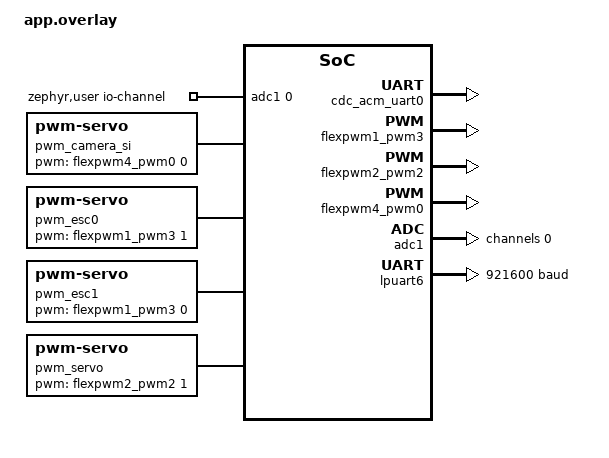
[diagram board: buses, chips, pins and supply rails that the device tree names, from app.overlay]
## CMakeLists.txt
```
cmake_minimum_required(VERSION 3.22)
set(BOARD teensy41)

find_package(Zephyr REQUIRED HINTS $ENV{ZEPHYR_BASE})
project(nxpcup)

set(CMAKE_CXX_STANDARD 11)
set(CMAKE_CXX_EXTENSIONS OFF)
set(CMAKE_CXX_STANDARD_REQUIRED ON)

set(ENV{ZEPHYR_BASE} ${ZEPHYR_BASE})

set(CMAKE_GENERATOR "Ninja")

include_directories(NXP_hal)

target_sources(app PRIVATE 
                NXP_hal/NXP_GPIO.cpp
                NXP_hal/NXP_Blinky.cpp
                NXP_hal/NXP_USB.cpp
                NXP_hal/NXP_ADC.cpp
                NXP_hal/NXP_Camera.cpp
                NXP_hal/NXP_PWM.cpp
                NXP_hal/NXP_Servo.cpp
                NXP_hal/NXP_Algorithm.cpp
                NXP_hal/NXP_UART.cpp
                NXP_hal/NXP_Encoder.cpp

                src/main.cpp
            )
```

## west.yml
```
# Copyright (c) 2021 Nordic Semiconductor ASA
# SPDX-License-Identifier: Apache-2.0

manifest:
  self:
    west-commands: scripts/west-commands.yml

  remotes:
    - name: zephyrproject-rtos
      url-base: https://github.com/zephyrproject-rtos

  projects:
    - name: zephyr
      remote: zephyrproject-rtos
      revision: v4.1.0-rc3
      import:
        # By using name-allowlist we can clone only the modules that are
        # strictly needed by the application.
        name-allowlist:
          - cmsis      # required by the ARM port
          - hal_nxp    # required by this port
```

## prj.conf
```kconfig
CONFIG_PWM=y

CONFIG_GPIO=y

CONFIG_USB_DEVICE_STACK=y
CONFIG_USB_DEVICE_PRODUCT="Zephyr USB console sample"
CONFIG_USB_DEVICE_PID=0x0004
CONFIG_USB_DEVICE_INITIALIZE_AT_BOOT=n

CONFIG_SERIAL=y
CONFIG_CONSOLE=y
CONFIG_UART_CONSOLE=y
CONFIG_UART_LINE_CTRL=y
CONFIG_UART_INTERRUPT_DRIVEN=y

CONFIG_STDOUT_CONSOLE=y
CONFIG_PRINTK=y
CONFIG_LOG=y
CONFIG_LOG_PRINTK=y
CONFIG_LOG_MODE_IMMEDIATE=y
# CONFIG_LOG_MODE_DEFERRED=y
CONFIG_PWM_LOG_LEVEL_DBG=y

CONFIG_PINCTRL=y

CONFIG_PRINTK=y

CONFIG_HEAP_MEM_POOL_SIZE=256

CONFIG_ADC=y
# CONFIG_ADC_LOG_LEVEL_DBG=y

CONFIG_GPIO_LOG_LEVEL_DBG=y

CONFIG_KERNEL_LOG_LEVEL_INF=y

CONFIG_ZERO_LATENCY_IRQS=y

# CONFIG_SYS_CLOCK_TICKS_PER_SEC=33554432
# CONFIG_TICKLESS_KERNEL=n
CONFIG_USB_CDC_ACM_LOG_LEVEL_OFF=y
CONFIG_CPP=y

# We don't need these for this project
CONFIG_SPI=n
CONFIG_I2C=n
```

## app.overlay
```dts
/ {
	chosen {
		zephyr,console = &cdc_acm_uart0;
		zephyr,bt-uart = &lpuart6;
	};
	
	zephyr,user {
		io-channels = <&adc1 0>;
	};

	pwm_camera_si: pwm_camera_si {
		compatible = "pwm-servo";
		pwms = <&flexpwm4_pwm0 0 PWM_MSEC(20) PWM_POLARITY_NORMAL>;
		min-pulse = <PWM_USEC(700)>;
		max-pulse = <PWM_USEC(2300)>;
	};

	pwm_esc0: pwm_esc0 {
		compatible = "pwm-servo";
		pwms = <&flexpwm1_pwm3 1 PWM_MSEC(20) PWM_POLARITY_NORMAL>;
		min-pulse = <PWM_MSEC(0)>;
		max-pulse = <PWM_MSEC(20)>;
	};

	pwm_esc1: pwm_esc1 {
		compatible = "pwm-servo";
		pwms = <&flexpwm1_pwm3 0 PWM_MSEC(20) PWM_POLARITY_NORMAL>;
		min-pulse = <PWM_MSEC(0)>;
		max-pulse = <PWM_MSEC(20)>;
	};

	pwm_servo: pwm_servo {
		compatible = "pwm-servo";
		pwms = <&flexpwm2_pwm2 1 PWM_MSEC(20) PWM_POLARITY_NORMAL>;
		min-pulse = <PWM_USEC(700)>;
		max-pulse = <PWM_USEC(2300)>;
	};
};

&zephyr_udc0 {
	cdc_acm_uart0: cdc_acm_uart0 {
		compatible = "zephyr,cdc-acm-uart";
	};
};

&pinctrl {
	pinmux_flexpwm_camera_si: pinmux_flexpwm_camera_si {
		group0 {
			pinmux = <&iomuxc_gpio_ad_b1_08_flexpwm4_pwma0>;
			drive-strength = "r0-7";
			slew-rate = "fast";
			nxp,speed = "50-mhz";
		};
	};

	pinmux_flexpwm_esc: pinmux_flexpwm_esc {
		group0 {
			pinmux = <&iomuxc_gpio_b1_01_flexpwm1_pwmb3>, <&iomuxc_gpio_b1_00_flexpwm1_pwma3>;
			drive-strength = "r0-7";
			slew-rate = "fast";
			nxp,speed = "50-mhz";
		};
	};

	pinmux_flexpwm_servo: pinmux_flexpwm_servo {
		group0 {
			pinmux = <&iomuxc_gpio_b0_11_flexpwm2_pwmb2>;
			drive-strength = "r0-7";
			slew-rate = "fast";
			nxp,speed = "50-mhz";
		};
	};

	pinmux_adc_ch1: pinmux_adc_ch1 {
		group0 {
			pinmux = <&iomuxc_gpio_ad_b1_11_adc1_in0>;
			drive-strength = "r0-7";
			slew-rate = "fast";
			nxp,speed = "50-mhz";
		};
	};

	pinmux_lpuart6: pinmux_lpuart6 {
		group0 {
			pinmux = <&iomuxc_gpio_ad_b0_03_lpuart6_rx>,
				<&iomuxc_gpio_ad_b0_02_lpuart6_tx>;
			drive-strength = "r0-6";
			slew-rate = "slow";
			nxp,speed = "100-mhz";
		};
	};
};

&flexpwm1_pwm3 {
	status = "okay";
	pinctrl-0 = <&pinmux_flexpwm_esc>;
	pinctrl-names = "default";
	nxp,prescaler = <64>;
};

&flexpwm2_pwm2 {
	status = "okay";
	pinctrl-0 = <&pinmux_flexpwm_servo>;
	pinctrl-names = "default";
	nxp,prescaler = <64>;
};

&flexpwm4_pwm0 {
	status = "okay";
	pinctrl-0 = <&pinmux_flexpwm_camera_si>;
	pinctrl-names = "default";
	nxp,prescaler = <64>;
};

&adc1 {
	#address-cells = <1>;
	#size-cells = <0>;
	status = "okay";

	pinctrl-0 = <&pinmux_adc_ch1>;
	pinctrl-names = "default";

	channel@0 {
		reg = <0>;
		zephyr,gain = "ADC_GAIN_1";
		zephyr,reference = "ADC_REF_INTERNAL"; // tego nie mozna zmienic
		zephyr,vref-mv = <3300>;
		zephyr,acquisition-time = <ADC_ACQ_TIME_DEFAULT>; // tego tez nie mozna zmienic
		zephyr,resolution = <10>;
		// zephyr,oversampling = <4>;
	};
};

&lpuart6 {
	status = "okay";
	compatible = "nxp,lpuart";
	current-speed = < 921600 >;
	pinctrl-0 = <&pinmux_lpuart6>;
};
```

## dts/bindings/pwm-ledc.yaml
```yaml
# Copyright (c) 2022 Nordic Semiconductor ASA
# SPDX-License-Identifier: Apache-2.0

description: PWM-driven led driver.

compatible: "pwm-ledc"

include: base.yaml

properties:
  pwms:
    required: true
    type: phandle-array
    description: PWM specifier driving the servo motor.

  min-pulse:
    required: true
    type: int
    description: Minimum pulse width (nanoseconds).

  max-pulse:
    required: true
    type: int
    description: Maximum pulse width (nanoseconds).
```

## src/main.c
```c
#include <zephyr/kernel.h>
#include <zephyr/sys/printk.h>

#include "adc.h"
#include "algorithm.h"
#include "blink.h"
#include "camera.h"
#include "gpio.h"
#include "led.h"
#include "servo.h"
#include "usb.h"

#define ALGORITHM_STACKSIZE 8192
#define CAMERA_STACKSIZE 8192
#define CAMERA_LOG_STACKSIZE 8192

#define BLINK_STACKSIZE 4096

#define CAMERA_PROC_PRIORITY 100
#define ALGORITHM_PRIORITY 7
#define CAMERA_LOG_PRIORITY 3
#define BLINK_AMBER_PRIORIY 1

int main() {
    setupGPIO();
    setupAmberLed();
    setupUSB();
    setupAdc();
    setupCamera();
    setupServo();

    printk("NXP says hello <3\n");
    uint32_t freq = CLOCK_GetCpuClkFreq();
    printk("CPU Freq: %d\n", freq);
}

K_THREAD_DEFINE(cameraProc_id, CAMERA_STACKSIZE, cameraProc, NULL, NULL,
                NULL, CAMERA_PROC_PRIORITY, 0, 0);

// K_THREAD_DEFINE(algorithmDemo_id, ALGORITHM_STACKSIZE, algorithmDemo, NULL,
// NULL,
//                 NULL, ALGORITHM_PRIORITY, 0, 0);

// K_THREAD_DEFINE(cameraDebugPrintkLoop_id, CAMERA_LOG_STACKSIZE,
// cameraDebugPrintkLoop, NULL, NULL,
//                 NULL, CAMERA_LOG_PRIORITY, 0, 0);

K_THREAD_DEFINE(blinkAmber_id, BLINK_STACKSIZE, blinkAmber, NULL, NULL, NULL,
                BLINK_AMBER_PRIORIY, 0, 0);

// K_THREAD_DEFINE(servoDemoProc_id, STACKSIZE, servoDemoProc, NULL, NULL, NULL,
//                 BLINK_AMBER_PRIORIY, 0, 0);
```

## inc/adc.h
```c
#ifndef __ADC_H
#define __ADC_H

#include <zephyr/device.h>
#include <zephyr/drivers/adc.h>

#if !DT_NODE_EXISTS(DT_PATH(zephyr_user)) || \
    !DT_NODE_HAS_PROP(DT_PATH(zephyr_user), io_channels)
#error "No suitable devicetree overlay specified"
#endif

#define DT_SPEC_AND_COMMA(node_id, prop, idx) \
    ADC_DT_SPEC_GET_BY_IDX(node_id, idx),

static const struct adc_dt_spec adc_channels[] = {
    DT_FOREACH_PROP_ELEM(DT_PATH(zephyr_user), io_channels, DT_SPEC_AND_COMMA)};

void setupAdc();

void adcInitSequence(uint32_t channel, struct adc_sequence *seq);

void adcRead(const struct device *dev, const struct adc_sequence *sequence);

#endif /* __ADC_H */
```

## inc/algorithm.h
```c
#ifndef __ALGORITHM_H
#define __ALGORITHM_H

#include <stdbool.h>
#include <stdint.h>

int32_t algorithmCalculatePosition(uint32_t* cameraBuffer);

#endif /* __ALGORITHM_H */
```

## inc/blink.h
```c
#ifndef __BLINK_H
#define __BLINK_H

void blinkAmber();

#endif /* __BLINK_H */
```

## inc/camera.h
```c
#ifndef __CAMERA_H
#define __CAMERA_H

#include <stdarg.h>
#include <stdint.h>
#include <zephyr/device.h>
#include <zephyr/drivers/gpio.h>
#include <zephyr/kernel.h>

#define CAMERA_CLK_GPIO_PORT GPIO_PORT_6
#define CAMERA_CLK_GPIO_PIN 3

#define DELAY_US 36
#define DELAY_US_HALF DELAY_US / 2

#define CAMERA_ADC_SAMPLES 128
#define CAMERA_ADC_CHANNEL 0
#define CAMERA_ADC_DEVICE adc_channels[CAMERA_ADC_CHANNEL].dev

#define CAMERA_MSG_LEN sizeof(cameraBufArr)
#define CAMERA_MSG_ARRAY_SIZE 4

#define GPIO_SI_INPUT_PIN 0

extern bool cameraInterruptState;

extern uint32_t cameraBufArr[CAMERA_ADC_SAMPLES];
extern struct k_msgq camera_dat_msgq;

void setupCamera();
void cameraSetCLKPin();
void cameraResetCLKPin();

void cameraProc();

void cameraDebugPrintk();
void cameraDebugPrintkLoop();

#endif /* __CAMERA_H */
```

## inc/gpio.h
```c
#ifndef __GPIO_H
#define __GPIO_H

#include <stdint.h>
#include <zephyr/device.h>
#include <zephyr/drivers/gpio.h>

#define GPIO_PORT_6 DEVICE_DT_GET(DT_NODELABEL(gpio6))
#define GPIO_PORT_2 DEVICE_DT_GET(DT_NODELABEL(gpio2))

void setupGPIO();

void gpioConfigurePin(const struct device *gpio_ct_dev, uint8_t pin,
                      unsigned int flag);
void gpioSetPin(const struct device *gpio_ct_dev, uint8_t pin);
void gpioResetPin(const struct device *gpio_ct_dev, uint8_t pin);
void gpioConfigureInterrupt(const struct device *port, uint32_t pin,
                            gpio_flags_t flags,
                            gpio_callback_handler_t isr_handler);

#endif /* __GPIO_H */
```

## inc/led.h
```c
#ifndef __LED_H
#define __LED_H

#include "gpio.h"

#define AMBER_LED_GPIO_PORT GPIO_PORT_2
#define AMBER_LED_GPIO_PIN 3

void setupAmberLed();

void ledAmberSet();
void ledAmberReset();

#endif /* __LED_H */
```

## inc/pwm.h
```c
#ifndef __PWM_H
#define __PWM_H

#include <stdint.h>
#include <zephyr/device.h>
#include <zephyr/drivers/gpio.h>
#include <zephyr/drivers/pwm.h>

#define PWM_SIPWM (&sipwm)  // Makro wskazujące na strukturę

static const struct pwm_dt_spec sipwm = PWM_DT_SPEC_GET(DT_NODELABEL(sipwm));

void pwmInit(const struct pwm_dt_spec *spec);

void pwmSetPulseNs(const struct pwm_dt_spec *spec, uint32_t pulseWidth);

const char * pwmGetDeviceName(const struct pwm_dt_spec *spec);

#endif /* __PWM_H */
```

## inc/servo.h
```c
#ifndef __SERVO_H
#define __SERVO_H

#include <stdint.h>

#define SERVO_PWM_MIN_NSEC 700000
#define SERVO_PWM_MAX_NSEC 2300000

#define SERVO_PWM_ZERO (SERVO_PWM_MAX_NSEC + SERVO_PWM_MIN_NSEC) / 2

#define SERVO_PWM_RANGE (SERVO_PWM_MAX_NSEC - SERVO_PWM_MIN_NSEC)

void setupServo();
void servoSetDegrees(float degrees);
void servoPulseSet(int32_t pulseWidth);

#endif /* __SERVO_H */
```

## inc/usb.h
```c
#ifndef __USB_H
#define __USB_H

void setupUSB();

#endif /* __USB_H */
```

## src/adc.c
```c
#include "adc.h"

#include <zephyr/device.h>
#include <zephyr/drivers/adc.h>

#include "led.h"

void setupAdc() {
    if (!adc_is_ready_dt(&adc_channels[0])) {
        printk("ADC controller device %s not ready\n",
               adc_channels[0].dev->name);
        return;
    }

    int err = adc_channel_setup_dt(&adc_channels[0]);
    if (err < 0) {
        printk("Could not setup channel #%d (%d)", 0, err);
        return;
    }
}

void adcInitSequence(uint32_t channel, struct adc_sequence *seq) {
    int err = adc_sequence_init_dt(&adc_channels[channel], seq);
    if (err < 0) {
        printk("Could not initalize sequnce");
        return;
    }
}

void adcRead(const struct device *dev, const struct adc_sequence *sequence) {
    int err = adc_read(dev, sequence);
    if (err < 0) {
        printk("Could not read (%d)\n", err);
        return;
    }
}
```

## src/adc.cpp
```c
#include "adc.h"

#include <zephyr/device.h>
#include <zephyr/drivers/adc.h>

void setupAdc() {
    if (!adc_is_ready_dt(&adc_channels[0])) {
        printk("ADC controller device %s not ready\n",
               adc_channels[0].dev->name);
        return;
    }

    int err = adc_channel_setup_dt(&adc_channels[0]);
    if (err < 0) {
        printk("Could not setup channel #%d (%d)", 0, err);
        return;
    }
}

void adcInitSequence(uint32_t channel, struct adc_sequence *seq) {
    int err = adc_sequence_init_dt(&adc_channels[channel], seq);
    if (err < 0) {
        printk("Could not initalize sequnce");
        return;
    }
}

void adcRead(const struct device *dev, const struct adc_sequence *sequence) {
    int err = adc_read(dev, sequence);
    if (err < 0) {
        printk("Could not read (%d)\n", err);
        return;
    }
}
```

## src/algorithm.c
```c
#include "algorithm.h"

#include <assert.h>
#include <stdint.h>
#include <zephyr/device.h>
#include <zephyr/drivers/gpio.h>
#include <zephyr/drivers/pwm.h>
#include <zephyr/kernel.h>

#include "adc.h"
#include "camera.h"
#include "servo.h"

int32_t algorithmCalculatePosition(uint32_t* cameraBuffer) {
    uint32_t smoothing[128];
    uint32_t sobel[128];
    uint32_t suppression[128];

    smoothing[0] = ((cameraBuffer[0] * 2) + cameraBuffer[1]) / 3;
    smoothing[127] = ((cameraBuffer[127] * 2) + cameraBuffer[126]) / 3;

    for (unsigned int i = 0; i < 128; i++) {
        sobel[i] = 0;
        suppression[i] = 0;
    }

    for (unsigned int i = 1; i < 127; i++)
        smoothing[i] =
            (cameraBuffer[i - 1] + cameraBuffer[i] + cameraBuffer[i + 1]) / 3;

    for (unsigned int i = 2; i < 126; i++)
        sobel[i] = abs(smoothing[i - 2] - smoothing[i + 2]);

    for (unsigned int i = 3; i < 125; i++)
        suppression[i] = (sobel[i] > sobel[i - 1]) && (sobel[i] > sobel[i + 1])
                             ? sobel[i]
                             : 0;

    int max1_idx = -1, max2_idx = -1;
    uint32_t max1_val = 0, max2_val = 0;

    for (unsigned int i = 0; i < 128; i++) {
        if (suppression[i] > max1_val) {
            max2_val = max1_val;
            max2_idx = max1_idx;
            max1_val = suppression[i];
            max1_idx = i;
        } else if (suppression[i] > max2_val) {
            max2_val = suppression[i];
            max2_idx = i;
        }
    }

    float mean = (max1_idx + max2_idx) / 2;
    int steeringError = mean - 63;

    return steeringError;
}
```
